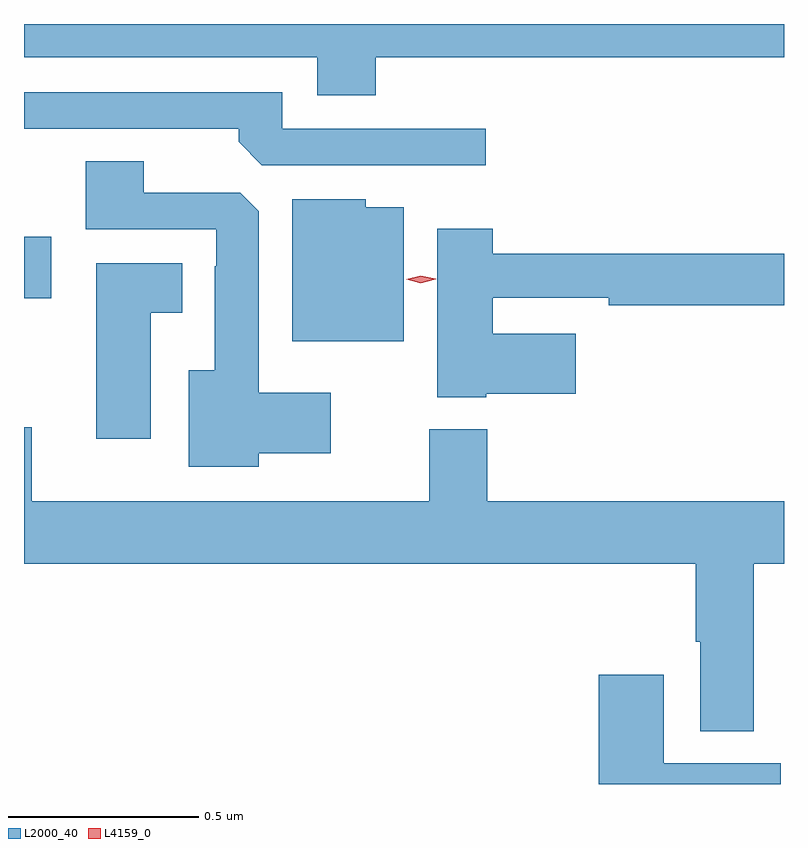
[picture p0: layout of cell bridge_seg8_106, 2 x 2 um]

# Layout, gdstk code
import gdstk
lib = gdstk.Library(unit=1e-6, precision=1e-09)
def R(c, l, rs):  # rectangles x0, y0, x1, y1
    for r in rs: c.add(gdstk.rectangle(r[:2], r[2:], *l))
def P(c, l, *ps):  # polygons
    for p in ps: c.add(gdstk.Polygon(p, *l))
L2000_40 = (2000, 40)
L4159_0 = (4159, 0)

bridge_seg8_106 = lib.new_cell('bridge_seg8_106')
R(bridge_seg8_106, L2000_40, [(698.173,1146.502,698.245,1146.664)])
P(bridge_seg8_106, L2000_40, [(699.098,1147.136),(700.173,1147.136),(700.173,1147.224),(698.173,1147.224),(698.173,1147.136),(698.945,1147.136),(698.945,1147.037),(699.098,1147.037)],
  [(699.388,1146.948),(698.853,1146.948),(698.853,1147.044),(698.173,1147.044),(698.173,1146.948),(698.738,1146.948),(698.738,1146.914),(698.799,1146.852),(699.388,1146.852)],
  [(698.791,1146.095),(698.98,1146.095),(698.98,1146.253),(698.791,1146.253),(698.791,1146.731),(698.742,1146.78),(698.488,1146.78),(698.488,1146.863),(698.336,1146.863),(698.336,1146.684),(698.679,1146.684),(698.679,1146.587),(698.675,1146.587),(698.675,1146.313),(698.606,1146.313),(698.606,1146.059),(698.791,1146.059)],
  [(699.172,1146.742),(699.072,1146.742),(699.072,1146.763),(698.879,1146.763),(698.879,1146.389),(699.172,1146.389)],
  [(699.39,1146.251),(699.625,1146.251),(699.625,1146.409),(699.407,1146.409),(699.407,1146.504),(699.712,1146.504),(699.712,1146.484),(700.173,1146.484),(700.173,1146.62),(699.407,1146.62),(699.407,1146.685),(699.26,1146.685),(699.26,1146.242),(699.39,1146.242)],
  [(698.506,1146.464),(698.59,1146.464),(698.59,1146.595),(698.363,1146.595),(698.363,1146.132),(698.506,1146.132)],
  [(700.093,1145.804),(700.173,1145.804),(700.173,1145.968),(699.392,1145.968),(699.392,1146.157),(699.239,1146.157),(699.239,1145.968),(698.194,1145.968),(698.194,1146.163),(698.173,1146.163),(698.173,1145.804),(699.941,1145.804),(699.941,1145.599),(699.953,1145.599),(699.953,1145.363),(700.093,1145.363)],
  [(700.165,1145.278),(699.856,1145.278),(699.856,1145.512),(699.686,1145.512),(699.686,1145.224),(700.165,1145.224)])
P(bridge_seg8_106, L4159_0, [(699.217,1146.542),(699.179,1146.552),(699.179,1146.552),(699.179,1146.552),(699.217,1146.562),(699.256,1146.553),(699.256,1146.552),(699.256,1146.552)])

lib.write_gds('bridge_seg8_106.gds')
